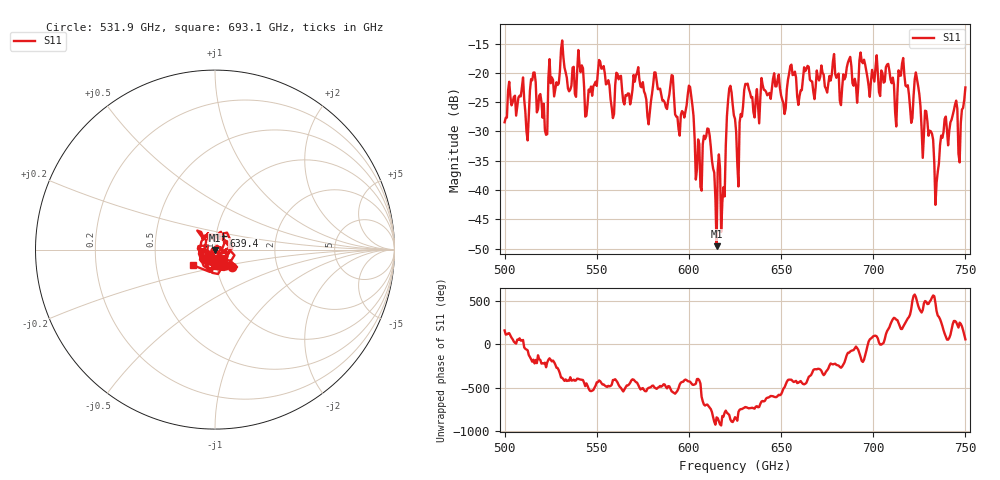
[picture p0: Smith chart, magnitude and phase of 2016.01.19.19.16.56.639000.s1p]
!Created with skrf (http://scikit-rf.org).
# GHz S RI R 50.0
!freq ReS11 ImS11
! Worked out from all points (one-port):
!   401 points, 500 GHz to 750 GHz, reference 50 ohm
!   lowest |S11| = -49.6 dB at 615 GHz (marker M1), VSWR 1.01, Z = 49.8 - j0.273 ohm
!   |S11| at or under -10 dB: start of sweep to end of sweep
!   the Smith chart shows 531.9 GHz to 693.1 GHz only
!   S11 on the Smith chart (normalised r, x): 531.9 GHz: 1.19, -0.23; 639.4 GHz: 1.08, +0.17; 693.1 GHz: 0.77, -0.14
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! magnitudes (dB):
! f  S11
! 500 GHz  -28.4
! 508.8 GHz  -24.0
! 511.9 GHz  -30.0
! 515.6 GHz  -19.9
! 521.9 GHz  -29.8
! 531.2 GHz  -14.5
! 531.9 GHz  -17.3
! 545 GHz  -25.3
! 562.5 GHz  -20.6
! 590.6 GHz  -20.4
! 593.8 GHz  -27.5
! 600.6 GHz  -22.4
! 605 GHz  -31.4
! 610 GHz  -29.5
! 615 GHz  -49.6
! 618.8 GHz  -39.5
! 621.9 GHz  -22.7
! 625 GHz  -27.8
! 639.4 GHz  -20.9
! 656.2 GHz  -20.4
! 687.5 GHz  -17.3
! 693.1 GHz  -16.5
! 718.8 GHz  -22.1
! 723.8 GHz  -21.0
! 734.4 GHz  -38.7
! 738.1 GHz  -30.1
! 747.5 GHz  -28.6
! 750 GHz  -22.5
